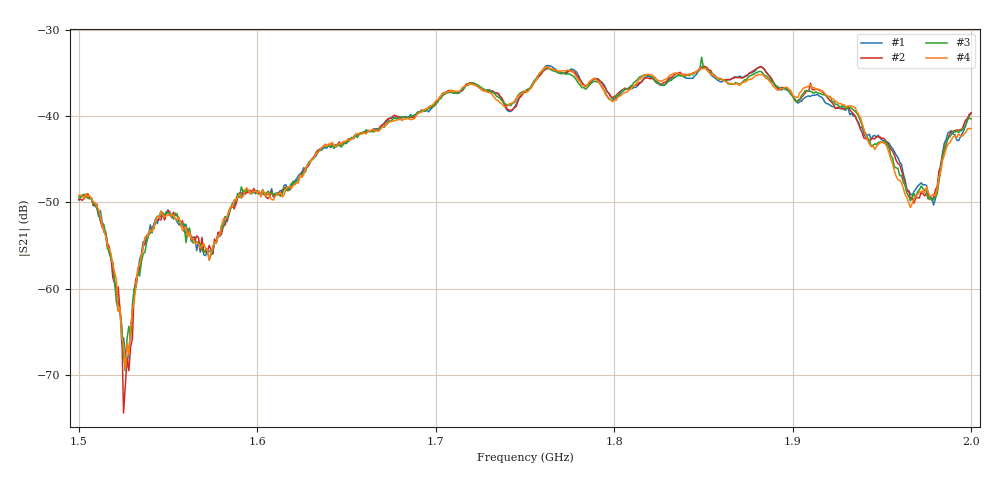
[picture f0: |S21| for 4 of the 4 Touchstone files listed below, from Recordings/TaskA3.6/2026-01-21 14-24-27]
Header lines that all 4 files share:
! NanoVNA-App by SYSJOINT et al v1.1.209 (+OD18)
! Start: 1,5GHz Stop: 2GHz Points: 501
! S-Parameter data: F S11 S21 S12 S22
# Hz S RI R 50
!  Frequency  S11_Real  S11_Imag  S21_Real  S21_Imag  S12_Real  S12_Imag  S22_Real  S22_Imag
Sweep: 1.5 GHz to 2 GHz
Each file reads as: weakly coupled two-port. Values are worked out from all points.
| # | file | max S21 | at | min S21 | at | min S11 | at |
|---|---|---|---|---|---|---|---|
| 1 | 0.s2p | -34.14 dB | 1.763 GHz | -68.9 dB | 1.527 GHz | -29.7 dB | 1.816 GHz |
| 2 | 1.s2p | -34.19 dB | 1.85 GHz | -74.4 dB | 1.525 GHz | -29.3 dB | 1.816 GHz |
| 3 | 2.s2p | -33.19 dB | 1.849 GHz | -69.5 dB | 1.526 GHz | -29.7 dB | 1.817 GHz |
| 4 | 3.s2p | -34.28 dB | 1.763 GHz | -69.3 dB | 1.526 GHz | -29.5 dB | 1.816 GHz |
